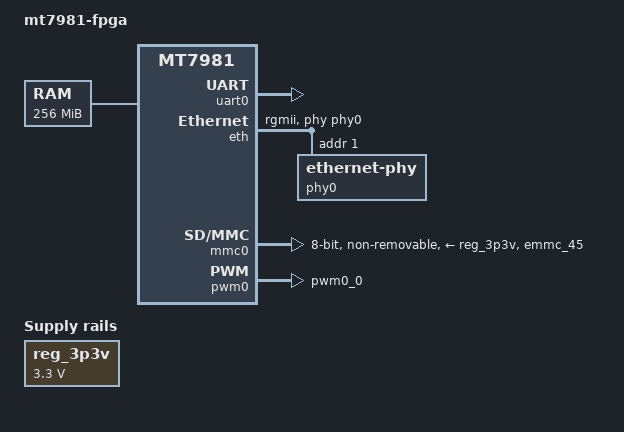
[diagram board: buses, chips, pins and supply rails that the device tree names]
// SPDX-License-Identifier: GPL-2.0
/*
 * Copyright (c) 2021 MediaTek Inc.
 * Author: Sam Shih <sam.shih@mediatek.com>
 */

/dts-v1/;
#include "mt7981-fpga.dtsi"
#include <dt-bindings/gpio/gpio.h>

/ {
	#address-cells = <1>;
	#size-cells = <1>;
	model = "mt7981-fpga";
	compatible = "mediatek,mt7981", "mediatek,mt7981-fpga";
	chosen {
		stdout-path = &uart0;
	};

	memory@40000000 {
		device_type = "memory";
		reg = <0x40000000 0x10000000>;
	};

	reg_3p3v: regulator-3p3v {
		compatible = "regulator-fixed";
		regulator-name = "fixed-3.3V";
		regulator-min-microvolt = <3300000>;
		regulator-max-microvolt = <3300000>;
		regulator-boot-on;
		regulator-always-on;
	};
};

&uart0 {
	status = "okay";
};

&uart1 {
	pinctrl-names = "default";
	pinctrl-0 = <&uart1_pins>;
	status = "disabled";
};

&eth {
	status = "okay";
	mediatek,gmac-id = <0>;
	phy-mode = "rgmii";
	phy-handle = <&phy0>;

	phy0: ethernet-phy@0 {
		reg = <1>;
	};
};

&pinctrl {
	spic_pins: spi1-spi1-0-pins {
		mux {
			function = "spi";
			groups = "spi1_1";
		};
	};
	uart1_pins: spi2-uart1-1-pins {
		mux {
			function = "uart";
			groups = "uart1_1_rx_tx", "uart1_1_cts_rts";
		};
	};
	pwm_pins: pwm0-pwm0-0-pins {
		mux {
			function = "pwm";
			groups = "pwm0_0";
		};
	};
	mmc0_pins_default: mmc0default {
		mux {
			function = "flash";
			groups =  "emmc_45";
		};
	};
};

&mmc0 {
	pinctrl-names = "default";
	pinctrl-0 = <&mmc0_pins_default>;
	bus-width = <8>;
	max-frequency = <3000000>;
	cap-mmc-highspeed;
	cap-mmc-hw-reset;
	vmmc-supply = <&reg_3p3v>;
	non-removable;
	status = "okay";
};

&pwm0 {
	pinctrl-names = "default";
	pinctrl-0 = <&pwm_pins>;
	status = "okay";
};
